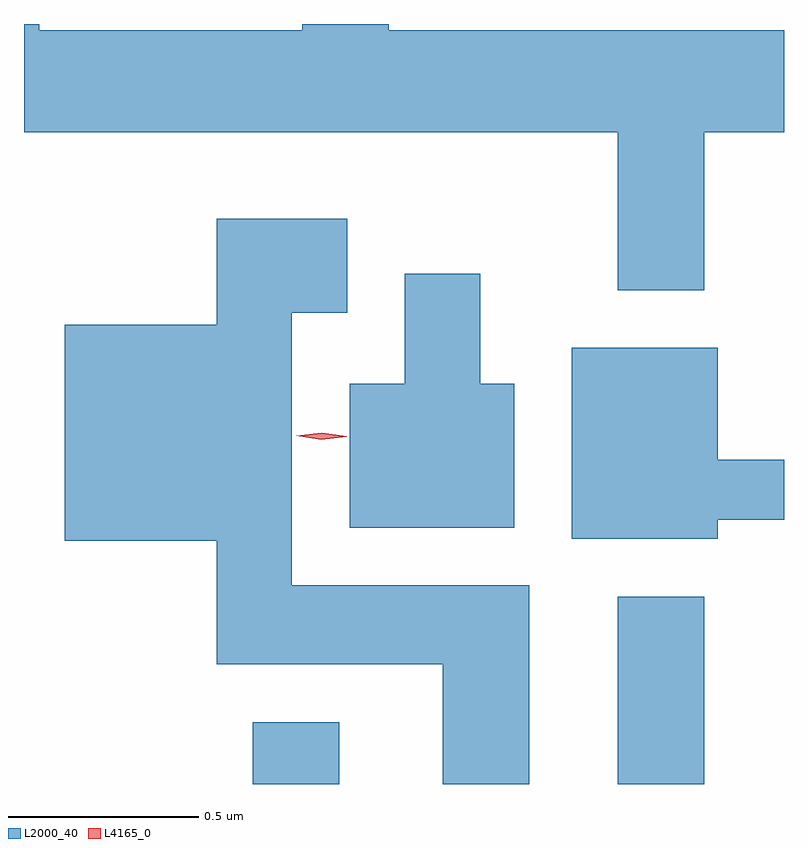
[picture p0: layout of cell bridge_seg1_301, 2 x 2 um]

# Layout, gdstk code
import gdstk
lib = gdstk.Library(unit=1e-6, precision=1e-09)
def R(c, l, rs):  # rectangles x0, y0, x1, y1
    for r in rs: c.add(gdstk.rectangle(r[:2], r[2:], *l))
def P(c, l, *ps):  # polygons
    for p in ps: c.add(gdstk.Polygon(p, *l))
L2000_40 = (2000, 40)
L4165_0 = (4165, 0)

bridge_seg1_301 = lib.new_cell('bridge_seg1_301')
R(bridge_seg1_301, L2000_40, [(883.611,893.421,883.839,893.584), (884.571,893.421,884.799,893.914)])
P(bridge_seg1_301, L2000_40, [(883.741,895.421),(883.741,895.404),(883.049,895.404),(883.049,895.421),(883.009,895.421),(883.009,895.136),(884.571,895.136),(884.571,894.721),(884.799,894.721),(884.799,895.136),(885.009,895.136),(885.009,895.404),(883.969,895.404),(883.969,895.421)],
  [(884.339,893.944),(883.714,893.944),(883.714,894.661),(883.859,894.661),(883.859,894.909),(883.516,894.909),(883.516,894.629),(883.116,894.629),(883.116,894.061),(883.516,894.061),(883.516,893.736),(884.111,893.736),(884.111,893.421),(884.339,893.421)],
  [(884.299,894.474),(884.209,894.474),(884.209,894.764),(884.011,894.764),(884.011,894.474),(883.866,894.474),(883.866,894.096),(884.299,894.096)],
  [(884.834,894.116),(885.009,894.116),(885.009,894.274),(884.834,894.274),(884.834,894.569),(884.451,894.569),(884.451,894.066),(884.834,894.066)])
P(bridge_seg1_301, L4165_0, [(883.791,894.327),(883.726,894.337),(883.725,894.338),(883.726,894.338),(883.792,894.346),(883.858,894.336),(883.858,894.335),(883.858,894.335)])

lib.write_gds('bridge_seg1_301.gds')
